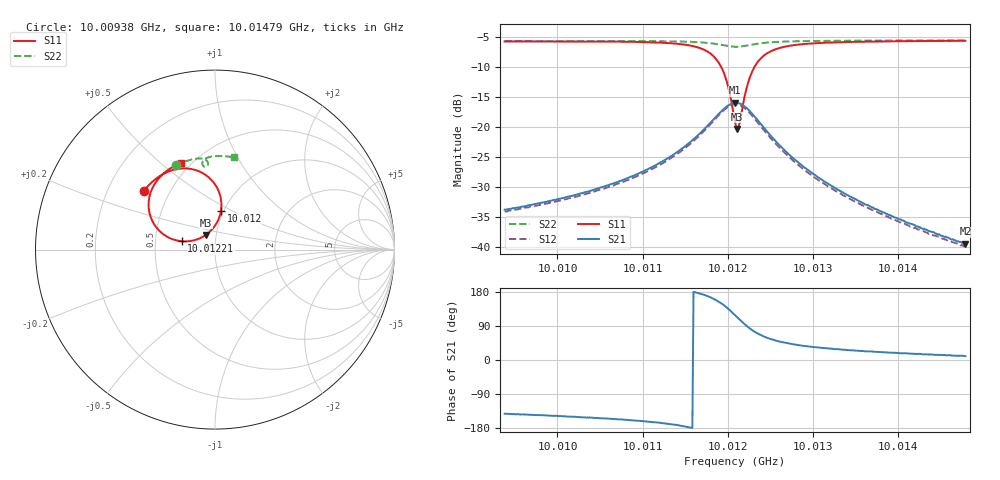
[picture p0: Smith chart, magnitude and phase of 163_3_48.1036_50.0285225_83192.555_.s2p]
#  HZ  S  RI  R  50.00
! Rohde & Schwarz Vector Network Analyzer
! Rohde-Schwarz,ZNB20-2Port,1311601062101988,3.16
! Created: UTC 12/23/2023, 3:51:00 AM
! freq[Hz]  re:S11  im:S11  re:S21  im:S21  re:S12  im:S12  re:S22  im:S22
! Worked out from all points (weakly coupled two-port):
!   401 points, 10.00938 GHz to 10.01479 GHz, reference 50 ohm
!   highest |S21| = -15.96 dB at 10.01208 GHz (marker M1); lowest = -39.4 dB at 10.01479 GHz (marker M2)
!   lowest |S11| = -20.3 dB at 10.01211 GHz (marker M3), VSWR 1.21, Z = 44.5 + j7.32 ohm
!   |S11| at or under -10 dB: 10.01192 GHz to 10.01231 GHz (392.4 kHz wide, 0.00392 % of centre)
!   |S22| runs from -6.7 to -5.6 dB; largest |S21 - S12| = 0.0078
!   S11 on the Smith chart (normalised r, x): 10.00938 GHz: 0.36, +0.32; 10.012 GHz: 0.97, +0.44; 10.01221 GHz: 0.68, +0.07; 10.01479 GHz: 0.44, +0.59
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1.0009379e10  -0.3969 0.3272  -0.0161 -0.0128  -0.0149 -0.0129  -0.2187 0.4693
1.0010285e10  -0.3421 0.3841  -0.0247 -0.0137  -0.0232 -0.0143  -0.1628 0.4923
1.0010772e10  -0.299 0.4151  -0.0335 -0.0141  -0.0317 -0.015  -0.1302 0.5017
1.0011192e10  -0.2421 0.4416  -0.0483 -0.0126  -0.0458 -0.0145  -0.0997 0.5071
1.0011517e10  -0.1639 0.4525  -0.0708 -0.00479  -0.068 -0.00838  -0.0722 0.507
1.0011774e10  -0.052 0.4155  -0.1021 0.0224  -0.0999 0.0167  -0.048 0.4973
1.0011909e10  0.0193 0.3282  -0.1159 0.063  -0.116 0.0552  -0.0387 0.4831
1.0011963e10  0.0346 0.2687  -0.1146 0.0859  -0.1151 0.0791  -0.0384 0.4755
1.0012004e10  0.033 0.2151  -0.1076 0.1056  -0.1095 0.0984  -0.0403 0.4697
1.0012085e10  -0.0196 0.1092  -0.0757 0.14  -0.0789 0.1334  -0.0503 0.4619
1.0012112e10  -0.0518 0.0815  -0.0606 0.1467  -0.0643 0.1406  -0.0547 0.4614
1.0012139e10  -0.0888 0.0611  -0.0451 0.1504  -0.049 0.1446  -0.0588 0.462
1.0012207e10  -0.1856 0.0463  -0.00718 0.1467  -0.0113 0.1414  -0.0675 0.4684
1.0012247e10  -0.2373 0.0581  0.0115 0.1376  0.00669 0.133  -0.0701 0.4738
1.0012301e10  -0.2907 0.0877  0.0292 0.122  0.0235 0.1182  -0.0711 0.4816
1.0012355e10  -0.3271 0.1242  0.0395 0.1058  0.0345 0.1024  -0.0693 0.4887
1.0012437e10  -0.3571 0.1776  0.047 0.0841  0.0415 0.0821  -0.0642 0.4974
1.001268e10  -0.3662 0.29  0.0444 0.0446  0.0403 0.0442  -0.0437 0.5118
1.0012991e10  -0.3382 0.3622  0.0341 0.0235  0.0312 0.0239  -0.0182 0.5187
1.0013397e10  -0.2997 0.4112  0.0244 0.0123  0.0227 0.0129  0.0119 0.5215
1.0013898e10  -0.2577 0.4468  0.0175 0.00624  0.0162 0.00685  0.0466 0.521
1.0014791e10  -0.1907 0.4849  0.0106 0.00189  0.00993 0.00244  0.1056 0.5136
